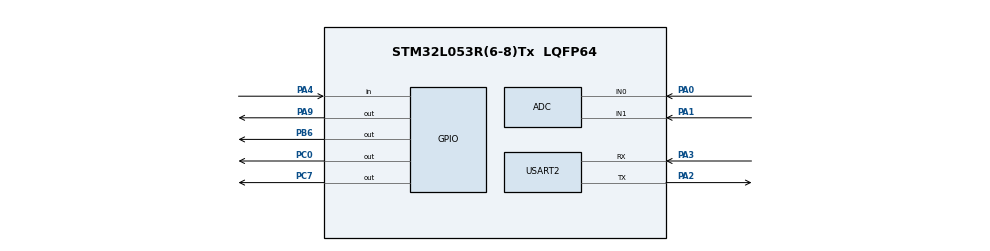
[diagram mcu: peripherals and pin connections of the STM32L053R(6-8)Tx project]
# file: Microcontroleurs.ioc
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Mcu.Family=STM32L0
Mcu.Name=STM32L053R(6-8)Tx
Mcu.Package=LQFP64
NVIC.USART2_IRQn=true\:0\:0\:false\:false\:true\:true\:true\:true
PA0.Mode=IN0
PA0.Signal=ADC_IN0
PA1.Mode=IN1
PA1.Signal=ADC_IN1
PA2.Mode=Asynchronous
PA2.Signal=USART2_TX
PA3.Mode=Asynchronous
PA3.Signal=USART2_RX
PA4.Signal=GPIO_Input
PA9.Signal=GPIO_Output
PB6.Signal=GPIO_Output
PC0.Signal=GPIO_Output
PC7.Signal=GPIO_Output
ProjectManager.HeapSize=0x200
ProjectManager.StackSize=0x400
ProjectManager.TargetToolchain=STM32CubeIDE
RCC.AHBFreq_Value=16000000
RCC.APB1Freq_Value=16000000
RCC.APB1TimFreq_Value=16000000
RCC.APB2Freq_Value=16000000
RCC.APB2TimFreq_Value=16000000
RCC.HCLKFreq_Value=16000000
RCC.HSE_VALUE=8000000
RCC.HSI16_VALUE=16000000
RCC.HSI48MClockSelection=RCC_USBCLKSOURCE_HSI48
RCC.HSI48_VALUE=48000000
RCC.HSI_VALUE=16000000
RCC.LSE_VALUE=32768
RCC.MSI_VALUE=2097000
RCC.SYSCLKFreq_VALUE=16000000
RCC.SYSCLKSource=RCC_SYSCLKSOURCE_HSI
RCC.VCOOutputFreq_Value=48000000
USART2.VirtualMode-Asynchronous=VM_ASYNC
board=custom

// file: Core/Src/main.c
/* USER CODE BEGIN Header */
/**
 * @file    main.c
 * @brief   Boucle principale – lecture joystick ADC, chronomètre, gestion UART et LEDs.
 * @ingroup grp_micro_main
 ******************************************************************************
 */
/* USER CODE END Header */
#include "main.h"
#include "adc.h"
#include "usart.h"
#include "gpio.h"

/* USER CODE BEGIN Includes */
#include "stm32l0xx_ll_usart.h"
#include "stm32l0xx_ll_adc.h"
#include "stm32l0xx_ll_rcc.h"
#include "stm32l0xx_ll_bus.h"
#include "stm32l0xx_ll_cortex.h"
#include "stm32l0xx_ll_pwr.h"
#include "stm32l0xx_it.h"
#include "stm32l0xx_ll_utils.h"
#include <stdio.h>
#include <string.h>
/* USER CODE END Includes */

/* USER CODE BEGIN PV */
uint8_t  rxData[256];   /**< Buffer de réception UART temporaire                      */
uint16_t rxLen = 0;     /**< Nombre d'octets reçus dans rxData                        */
uint8_t  cpt   = 0;     /**< Compteur de LEDs éteintes (0 = toutes allumées)          */
uint16_t vx    = 0;     /**< Valeur brute ADC axe X du joystick (PA0, 0–4095)         */
uint16_t vy    = 0;     /**< Valeur brute ADC axe Y du joystick (PA1, 0–4095)         */
uint32_t lastTick = 0;  /**< Dernier tick où 'T' a été envoyé (en ms via timeur())    */
uint32_t timeu = 0;     /**< Timestamp courant retourné par timeur()                  */
uint8_t  btnPressed = 0;/**< État du bouton PA4 (1 = pressé, anti-rebond)             */
/* USER CODE END PV */

void SystemClock_Config(void);
/* USER CODE BEGIN PFP */
uint16_t ADC_ReadChannel(uint32_t channel);
void Blink(GPIO_TypeDef* GPIOx, uint32_t pin, uint8_t count);
void ResetGameState(void);
/* USER CODE END PFP */

/* USER CODE BEGIN 0 */

/**
 * @brief  Lit la valeur ADC 12 bits d'un canal donné.
 * @details Réinitialise le périphérique ADC, configure le canal demandé en
 *          mode single-shot, lance la calibration, active l'ADC puis retourne
 *          la valeur convertie sur 12 bits (0–4095).
 * @param  channel  Canal ADC LL à convertir (ex: LL_ADC_CHANNEL_0 pour PA0,
 *                  LL_ADC_CHANNEL_1 pour PA1).
 * @return Valeur ADC 12 bits (0 = 0 V, 4095 = 3,3 V).
 */
uint16_t ADC_ReadChannel(uint32_t channel) {
	/* Reset complet du peripheral ADC */
	LL_APB2_GRP1_ForceReset(LL_APB2_GRP1_PERIPH_ADC1);
	LL_APB2_GRP1_ReleaseReset(LL_APB2_GRP1_PERIPH_ADC1);

	/* Reconfigure l'ADC */
	LL_ADC_SetResolution(ADC1, LL_ADC_RESOLUTION_12B);
	LL_ADC_SetDataAlignment(ADC1, LL_ADC_DATA_ALIGN_RIGHT);
	LL_ADC_SetLowPowerMode(ADC1, LL_ADC_LP_MODE_NONE);
	LL_ADC_REG_SetTriggerSource(ADC1, LL_ADC_REG_TRIG_SOFTWARE);
	LL_ADC_REG_SetContinuousMode(ADC1, LL_ADC_REG_CONV_SINGLE);
	LL_ADC_REG_SetDMATransfer(ADC1, LL_ADC_REG_DMA_TRANSFER_NONE);
	LL_ADC_REG_SetOverrun(ADC1, LL_ADC_REG_OVR_DATA_OVERWRITTEN);
	LL_ADC_SetSamplingTimeCommonChannels(ADC1, LL_ADC_SAMPLINGTIME_39CYCLES_5);

	/* Ajoute uniquement le canal voulu */
	LL_ADC_REG_SetSequencerChAdd(ADC1, channel);

	/* Calibration */
	LL_ADC_StartCalibration(ADC1);
	while (LL_ADC_IsCalibrationOnGoing(ADC1))
		;

	/* Active */
	LL_ADC_Enable(ADC1);
	while (!LL_ADC_IsActiveFlag_ADRDY(ADC1))
		;

	/* Convertit */
	LL_ADC_ClearFlag_EOC(ADC1);
	LL_ADC_REG_StartConversion(ADC1);
	uint32_t timeout = 1000000;
	while (!LL_ADC_IsActiveFlag_EOC(ADC1) && timeout--)
		;

	return LL_ADC_REG_ReadConversionData12(ADC1);
}

/**
 * @brief  Fait clignoter une LED un certain nombre de fois.
 * @param  GPIOx  Port GPIO de la LED (ex: GPIOB, GPIOC).
 * @param  pin    Broche LL de la LED (ex: LL_GPIO_PIN_6).
 * @param  count  Nombre de clignotements (chaque cycle = 500 ms).
 */
void Blink(GPIO_TypeDef* GPIOx, uint32_t pin, uint8_t count) {
    for (uint8_t i = 0; i < count; i++) {
        LL_GPIO_ResetOutputPin(GPIOx, pin);
        LL_mDelay(250);
        LL_GPIO_SetOutputPin(GPIOx, pin);
        LL_mDelay(250);
        LL_GPIO_ResetOutputPin(GPIOx, pin);
    }
}

/**
 * @brief  Réinitialise l'état du jeu en fin de manche.
 * @details Fait clignoter le buzzer (PC0) 3 fois, puis rallume
 *          les 3 LEDs de vie (PA9, PC7, PB6) et remet le compteur cpt à 0.
 */
void ResetGameState(void) {
	Blink(GPIOC, LL_GPIO_PIN_0, 3);
	LL_GPIO_SetOutputPin(GPIOA, LL_GPIO_PIN_9);
	LL_GPIO_SetOutputPin(GPIOC, LL_GPIO_PIN_7);
	LL_GPIO_SetOutputPin(GPIOB, LL_GPIO_PIN_6);
	cpt = 0;
}

/* USER CODE END 0 */

int main(void) {

	/* MCU Configuration--------------------------------------------------------*/

	/* Reset of all peripherals, Initializes the Flash interface and the Systick. */
	LL_APB2_GRP1_EnableClock(LL_APB2_GRP1_PERIPH_SYSCFG);
	LL_APB1_GRP1_EnableClock(LL_APB1_GRP1_PERIPH_PWR);

	/* SysTick_IRQn interrupt configuration */
	NVIC_SetPriority(SysTick_IRQn, 3);

	/* Configure the system clock */
	SystemClock_Config();

	/* Initialize all configured peripherals */
	MX_GPIO_Init();
	MX_USART2_UART_Init();
	MX_ADC_Init();
	/* USER CODE BEGIN 2 */
	LL_GPIO_SetOutputPin(GPIOA, LL_GPIO_PIN_9);
	LL_GPIO_SetOutputPin(GPIOC, LL_GPIO_PIN_7);
	LL_GPIO_SetOutputPin(GPIOB, LL_GPIO_PIN_6);
	/* USER CODE END 2 */

	/* Infinite loop */
	/* USER CODE BEGIN WHILE */
	while (1) {

		LL_mDelay(50);
		timeu = timeur();
		if ((timeu - lastTick) >= 1000) {
			lastTick = timeu;
			USART2_Send((uint8_t*) "T\n", 2);
		}
		/* ── Lecture joystick ────────────────────────────────── */
		vx = ADC_ReadChannel(LL_ADC_CHANNEL_0); /* PA0 = axe X */
		vy = ADC_ReadChannel(LL_ADC_CHANNEL_1); /* PA1 = axe Y */

		if (vx < 1900) {
			char buf[64];
			snprintf(buf, sizeof(buf), "DOWN\n");
			USART2_Send((uint8_t*) buf, strlen(buf));

		}
		if (vx > 2200) {
			char buf[64];
			snprintf(buf, sizeof(buf), "UP\n");
			USART2_Send((uint8_t*) buf, strlen(buf));

		}
		if (vy < 1900) {
			char buf[64];
			snprintf(buf, sizeof(buf), "RIGHT\n");
			USART2_Send((uint8_t*) buf, strlen(buf));

		}
		if (vy > 2200) {
			char buf[64];
			snprintf(buf, sizeof(buf), "LEFT\n");
			USART2_Send((uint8_t*) buf, strlen(buf));

		}

		/* ── Réception UART ──────────────────────────────────── */
		if (USART2_Available() > 0) {
			uint8_t c;
			USART2_Read(&c, 1);

			switch (c) {

			case 'L':
				if (cpt == 0) {
					Blink(GPIOB, LL_GPIO_PIN_6, 3);
				}
				if (cpt == 1) {
					Blink(GPIOC, LL_GPIO_PIN_7, 3);
				}
				if (cpt == 2) {
					Blink(GPIOA, LL_GPIO_PIN_9, 3);
				}
				cpt++;
				break;

			case 'B':
				ResetGameState();
				break;

			default:
				break;
			}
		}

		/* ── Bouton PA4 (actif haut) ─────────────────────────── */
		if (LL_GPIO_IsInputPinSet(GPIOA, LL_GPIO_PIN_4) == 1) {
			if (btnPressed == 0) {        // front montant seulement
				btnPressed = 1;
				char buf[32];
				snprintf(buf, sizeof(buf), "1\n");
				USART2_Send((uint8_t*) buf, 2);
			}
		} else {
			btnPressed = 0;               // doigt levé → réarme
		}

		/* USER CODE BEGIN 3 */
	}
	/* USER CODE END WHILE */
	/* USER CODE END 3 */
	/* USER CODE END 3 */
}

void SystemClock_Config(void) {
	LL_FLASH_SetLatency(LL_FLASH_LATENCY_0);
	while (LL_FLASH_GetLatency() != LL_FLASH_LATENCY_0) {
	}
	LL_PWR_SetRegulVoltageScaling(LL_PWR_REGU_VOLTAGE_SCALE1);
	while (LL_PWR_IsActiveFlag_VOS() != 0) {
	}
	LL_RCC_HSI_Enable();

	/* Wait till HSI is ready */
	while (LL_RCC_HSI_IsReady() != 1) {

	}
	LL_RCC_HSI_SetCalibTrimming(16);
	LL_RCC_SetAHBPrescaler(LL_RCC_SYSCLK_DIV_1);
	LL_RCC_SetAPB1Prescaler(LL_RCC_APB1_DIV_1);
	LL_RCC_SetAPB2Prescaler(LL_RCC_APB2_DIV_1);
	LL_RCC_SetSysClkSource(LL_RCC_SYS_CLKSOURCE_HSI);

	/* Wait till System clock is ready */
	while (LL_RCC_GetSysClkSource() != LL_RCC_SYS_CLKSOURCE_STATUS_HSI) {

	}

	LL_Init1msTick(16000000);
	LL_SYSTICK_EnableIT();
	LL_SetSystemCoreClock(16000000);
	LL_RCC_SetUSARTClockSource(LL_RCC_USART2_CLKSOURCE_PCLK1);
}

void Error_Handler(void) {
	/* USER CODE BEGIN Error_Handler_Debug */
	__disable_irq();
	while (1)
		;
	/* USER CODE END Error_Handler_Debug */
}
